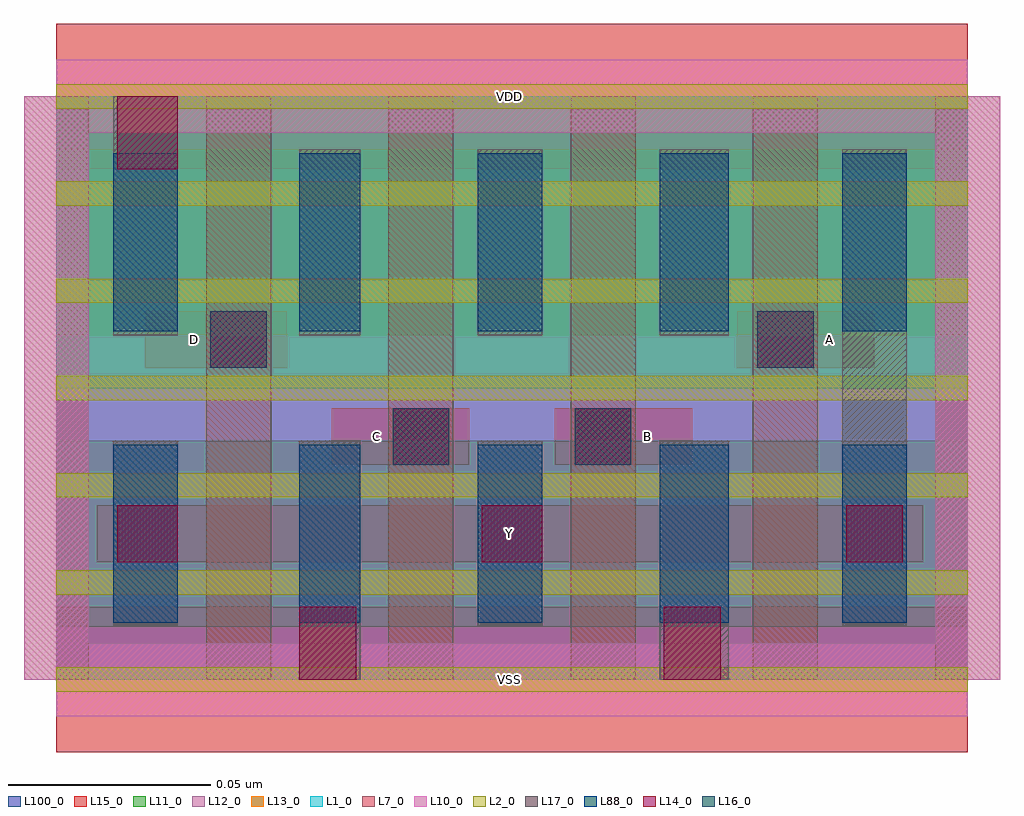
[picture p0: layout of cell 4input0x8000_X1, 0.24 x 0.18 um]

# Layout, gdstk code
import gdstk
lib = gdstk.Library(unit=1e-6, precision=1e-09)
def R(c, l, rs):  # rectangles x0, y0, x1, y1
    for r in rs: c.add(gdstk.rectangle(r[:2], r[2:], *l))
def A(c, l, x, y, w, h, nx, ny, dx, dy):  # array of equal rectangles
    R(c, l, [(x+i*dx, y+j*dy, x+i*dx+w, y+j*dy+h) for i in range(nx) for j in range(ny)])
def P(c, l, *ps):  # polygons
    for p in ps: c.add(gdstk.Polygon(p, *l))
L1_0 = (1, 0)
L2_0 = (2, 0)
L7_0 = (7, 0)
L10_0 = (10, 0)
L11_0 = (11, 0)
L12_0 = (12, 0)
L13_0 = (13, 0)
L14_0 = (14, 0)
L15_0 = (15, 0)
L16_0 = (16, 0)
L17_0 = (17, 0)
L88_0 = (88, 0)
L100_0 = (100, 0)

c_4input0x8000_x1 = lib.new_cell('4input0x8000_X1')
R(c_4input0x8000_x1, L1_0, [(0,0.072,0.225,0.144)])
A(c_4input0x8000_x1, L2_0, 0, -0.003, 0.225, 0.006, 1, 7, 0, 0.024)
A(c_4input0x8000_x1, L7_0, -0.008, 0, 0.016, 0.144, 6, 1, 0.045, 0)
P(c_4input0x8000_x1, L10_0, [(0,-0.009),(0,0),(-0.008,0),(-0.008,0.135),(0.008,0.135),(0.008,0.009),(0.217,0.009),(0.217,0.135),(-0.008,0.135),(-0.008,0.144),(0,0.144),(0,0.153),(0.225,0.153),(0.225,0.144),(0.233,0.144),(0.233,0),(0.225,0),(0.225,-0.009)])
R(c_4input0x8000_x1, L11_0, [(0,0.013,0.225,0.059), (0,0.085,0.225,0.131)])
R(c_4input0x8000_x1, L12_0, [(0,0,0.225,0.072)])
R(c_4input0x8000_x1, L13_0, [(0,0.072,0.225,0.144)])
R(c_4input0x8000_x1, L14_0, [(0.06,0,0.074,0.018), (0.15,0,0.164,0.018), (0.015,0.029,0.03,0.043), (0.105,0.029,0.12,0.043), (0.195,0.029,0.209,0.043), (0.083,0.053,0.097,0.067), (0.128,0.053,0.142,0.067), (0.038,0.077,0.052,0.091), (0.173,0.077,0.187,0.091), (0.015,0.126,0.03,0.144)])
R(c_4input0x8000_x1, L15_0, [(0,-0.018,0.225,0.018), (0.01,0.029,0.214,0.043), (0.068,0.053,0.102,0.067), (0.123,0.053,0.157,0.067), (0.022,0.077,0.057,0.091), (0.168,0.077,0.202,0.091), (0,0.126,0.225,0.162)])
R(c_4input0x8000_x1, L16_0, [(0.083,0.053,0.097,0.067), (0.128,0.053,0.142,0.067), (0.038,0.077,0.052,0.091), (0.173,0.077,0.187,0.091)])
R(c_4input0x8000_x1, L17_0, [(0.06,0,0.075,0.059), (0.149,0,0.166,0.059), (0.014,0.013,0.03,0.059), (0.104,0.013,0.12,0.059), (0.194,0.013,0.21,0.131), (0.014,0.085,0.03,0.144), (0.06,0.085,0.075,0.131), (0.104,0.085,0.12,0.131), (0.149,0.085,0.166,0.131)])
A(c_4input0x8000_x1, L88_0, 0.014, 0.014, 0.016, 0.044, 3, 2, 0.09, 0.072)
R(c_4input0x8000_x1, L88_0, [(0.06,0.014,0.075,0.058), (0.149,0.014,0.166,0.058), (0.06,0.086,0.075,0.13), (0.149,0.086,0.166,0.13)])
R(c_4input0x8000_x1, L100_0, [(0,0,0.225,0.144)])
c_4input0x8000_x1.add(gdstk.Label('B', (0.146,0.06), layer=15, texttype=251))
c_4input0x8000_x1.add(gdstk.Label('VSS', (0.112,0), layer=15, texttype=251))
c_4input0x8000_x1.add(gdstk.Label('VDD', (0.112,0.144), layer=15, texttype=251))
c_4input0x8000_x1.add(gdstk.Label('Y', (0.112,0.036), layer=15, texttype=251))
c_4input0x8000_x1.add(gdstk.Label('VSS', (0.112,0), layer=15, texttype=251))
c_4input0x8000_x1.add(gdstk.Label('VDD', (0.112,0.144), layer=15, texttype=251))
c_4input0x8000_x1.add(gdstk.Label('A', (0.191,0.084), layer=15, texttype=251))
c_4input0x8000_x1.add(gdstk.Label('VSS', (0.112,0), layer=15, texttype=251))
c_4input0x8000_x1.add(gdstk.Label('VDD', (0.112,0.144), layer=15, texttype=251))
c_4input0x8000_x1.add(gdstk.Label('D', (0.034,0.084), layer=15, texttype=251))
c_4input0x8000_x1.add(gdstk.Label('VSS', (0.112,0), layer=15, texttype=251))
c_4input0x8000_x1.add(gdstk.Label('VDD', (0.112,0.144), layer=15, texttype=251))
c_4input0x8000_x1.add(gdstk.Label('C', (0.079,0.06), layer=15, texttype=251))
c_4input0x8000_x1.add(gdstk.Label('VSS', (0.112,0), layer=15, texttype=251))
c_4input0x8000_x1.add(gdstk.Label('VDD', (0.112,0.144), layer=15, texttype=251))
c_4input0x8000_x1.add(gdstk.Label('VSS', (0.112,0), layer=3, texttype=251))
c_4input0x8000_x1.add(gdstk.Label('VSS', (0.112,0), layer=3, texttype=251))
c_4input0x8000_x1.add(gdstk.Label('VSS', (0.112,0), layer=3, texttype=251))
c_4input0x8000_x1.add(gdstk.Label('VSS', (0.112,0), layer=3, texttype=251))
c_4input0x8000_x1.add(gdstk.Label('VSS', (0.112,0), layer=3, texttype=251))
c_4input0x8000_x1.add(gdstk.Label('VDD', (0.112,0.144), layer=1, texttype=251))
c_4input0x8000_x1.add(gdstk.Label('VDD', (0.112,0.144), layer=1, texttype=251))
c_4input0x8000_x1.add(gdstk.Label('VDD', (0.112,0.144), layer=1, texttype=251))
c_4input0x8000_x1.add(gdstk.Label('VDD', (0.112,0.144), layer=1, texttype=251))
c_4input0x8000_x1.add(gdstk.Label('VDD', (0.112,0.144), layer=1, texttype=251))

lib.write_gds('4input0x8000_X1.gds')
